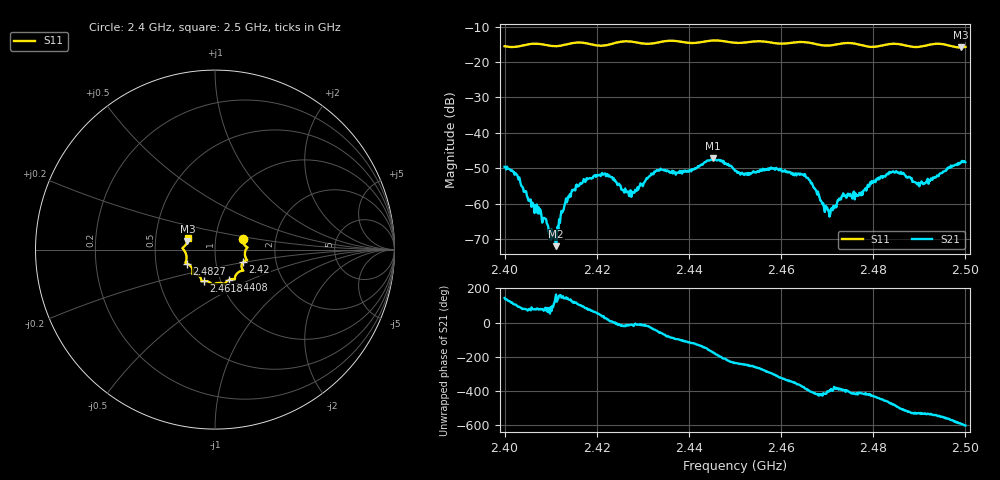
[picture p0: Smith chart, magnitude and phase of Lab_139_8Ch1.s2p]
# Hz S RI R 50
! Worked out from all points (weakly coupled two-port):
!   601 points, 2.4 GHz to 2.5 GHz, reference 50 ohm
!   highest |S21| = -47.25 dB at 2.4452 GHz (marker M1); lowest = -72.0 dB at 2.4112 GHz (marker M2)
!   lowest |S11| = -15.9 dB at 2.499 GHz (marker M3), VSWR 1.38, Z = 36.6 + j3.58 ohm
!   |S11| at or under -10 dB: start of sweep to end of sweep
!   S12 and S22 are empty: the file has one direction only
!   S11 on the Smith chart (normalised r, x): 2.4 GHz: 1.35, +0.17; 2.42 GHz: 1.36, -0.19; 2.4408 GHz: 1.10, -0.38; 2.4618 GHz: 0.84, -0.30; 2.4827 GHz: 0.72, -0.12; 2.5 GHz: 0.73, +0.09
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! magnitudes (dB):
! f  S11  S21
! 2.4 GHz  -15.6  -49.6
! 2.4028 GHz  -15.6  -52.3
! 2.4098 GHz  -15.4  -68.2
! 2.4112 GHz  -15.5  -72.0
! 2.4137 GHz  -14.9  -59.0
! 2.4167 GHz  -14.5  -54.4
! 2.42 GHz  -15.3  -51.9
! 2.4275 GHz  -14.2  -58.1
! 2.4333 GHz  -14.5  -50.7
! 2.4408 GHz  -14.6  -50.5
! 2.4452 GHz  -13.9  -47.3
! 2.45 GHz  -14.6  -50.8
! 2.4618 GHz  -14.6  -51.0
! 2.4667 GHz  -14.7  -54.2
! 2.4707 GHz  -15.3  -63.0
! 2.4732 GHz  -14.8  -57.9
! 2.4772 GHz  -15.1  -57.0
! 2.4827 GHz  -15.1  -52.3
! 2.4833 GHz  -15.0  -51.7
! 2.4905 GHz  -15.6  -53.7
! 2.499 GHz  -15.9  -48.5
! 2.5 GHz  -15.7  -48.3
